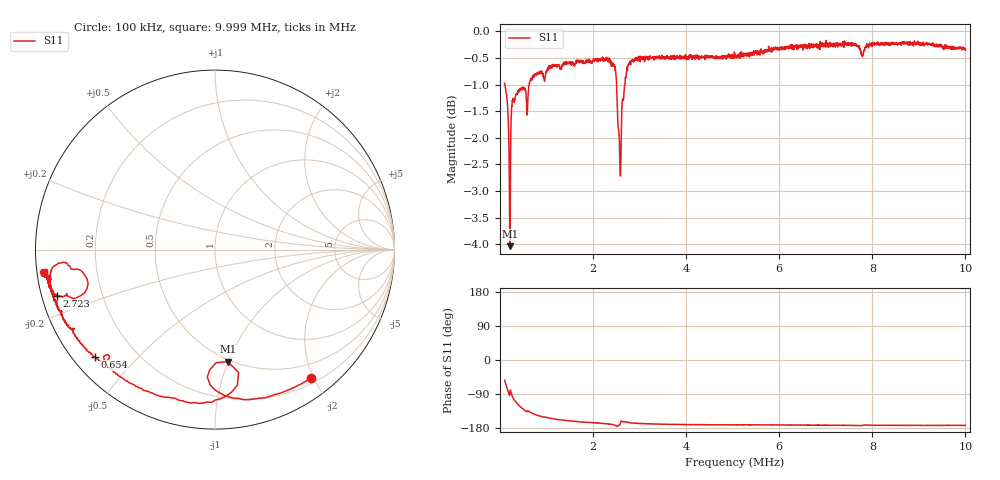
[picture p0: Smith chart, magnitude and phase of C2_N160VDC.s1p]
# HZ S RI R 50
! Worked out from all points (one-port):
!   2020 points, 100 kHz to 9.999 MHz, reference 50 ohm
!   lowest |S11| = -4.0 dB at 217.7 kHz (marker M1), VSWR 4.39, Z = 24.1 - j49.8 ohm
!   |S11| at or under -10 dB: nowhere
!   S11 on the Smith chart (normalised r, x): 100 kHz: 0.28, -1.96; 654 kHz: 0.06, -0.38; 2.723 MHz: 0.04, -0.14; 9.999 MHz: 0.02, -0.07
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100000  0.5345 -0.7161
129418  0.3624 -0.8002
163739  0.1583 -0.8358
217672  0.0707 -0.6247
266702  -0.0887 -0.8569
291217  -0.1795 -0.8421
345150  -0.3148 -0.8136
423598  -0.466 -0.7474
521658  -0.587 -0.663
654039  -0.6706 -0.5986
747196  -0.7312 -0.5417
879577  -0.78 -0.4767
1340459  -0.8623 -0.3453
2232805  -0.9172 -0.1987
2424022  -0.9181 -0.1556
2473052  -0.9178 -0.1251
2526985  -0.8272 -0.0733
2576015  -0.7435 -0.119
2644657  -0.8279 -0.2465
2723105  -0.8794 -0.2601
2948643  -0.9198 -0.2083
3816474  -0.9322 -0.1634
5052030  -0.9339 -0.1433
6287586  -0.9542 -0.1375
7528045  -0.966 -0.1281
7792807  -0.9384 -0.1325
8763601  -0.9658 -0.1273
9999157  -0.9517 -0.125
